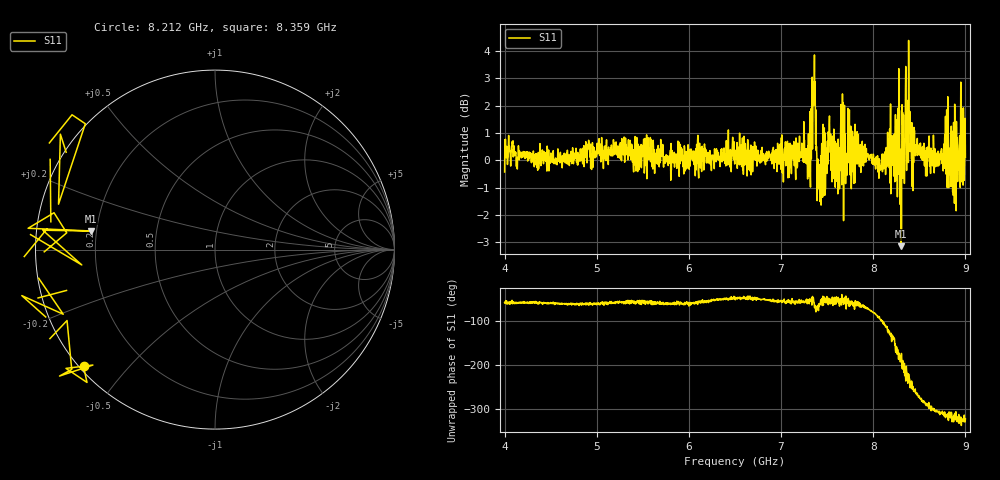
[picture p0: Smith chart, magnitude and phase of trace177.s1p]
! Created with skrf 1.8.0 (http://scikit-rf.org).
# Hz S RI R 50.0
!freq ReS11 ImS11
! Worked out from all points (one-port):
!   1601 points, 4 GHz to 9 GHz, reference 50 ohm
!   lowest |S11| = -3.1 dB at 8.3 GHz (marker M1), VSWR 5.60, Z = 8.98 + j3.62 ohm
!   |S11| at or under -10 dB: nowhere
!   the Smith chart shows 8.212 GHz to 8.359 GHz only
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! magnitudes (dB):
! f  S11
! 4 GHz  -0.4
! 4.066 GHz  -0.2
! 4.625 GHz  -0.3
! 5.25 GHz  0.1
! 5.875 GHz  0.1
! 6.5 GHz  0.4
! 7.125 GHz  0.2
! 7.294 GHz  0.4
! 7.347 GHz  2.1
! 7.362 GHz  3.9
! 7.412 GHz  -1.0
! 7.512 GHz  1.0
! 7.578 GHz  -0.4
! 7.669 GHz  1.3
! 7.703 GHz  -0.4
! 7.75 GHz  -0.5
! 8.075 GHz  -0.2
! 8.262 GHz  -1.3
! 8.3 GHz  -3.1
! 8.316 GHz  1.3
! 8.334 GHz  0.6
! 8.375 GHz  1.6
! 8.425 GHz  0.0
! 8.556 GHz  -0.2
! 8.788 GHz  -0.5
! 8.844 GHz  -1.0
! 8.956 GHz  0.1
! 9 GHz  0.1
